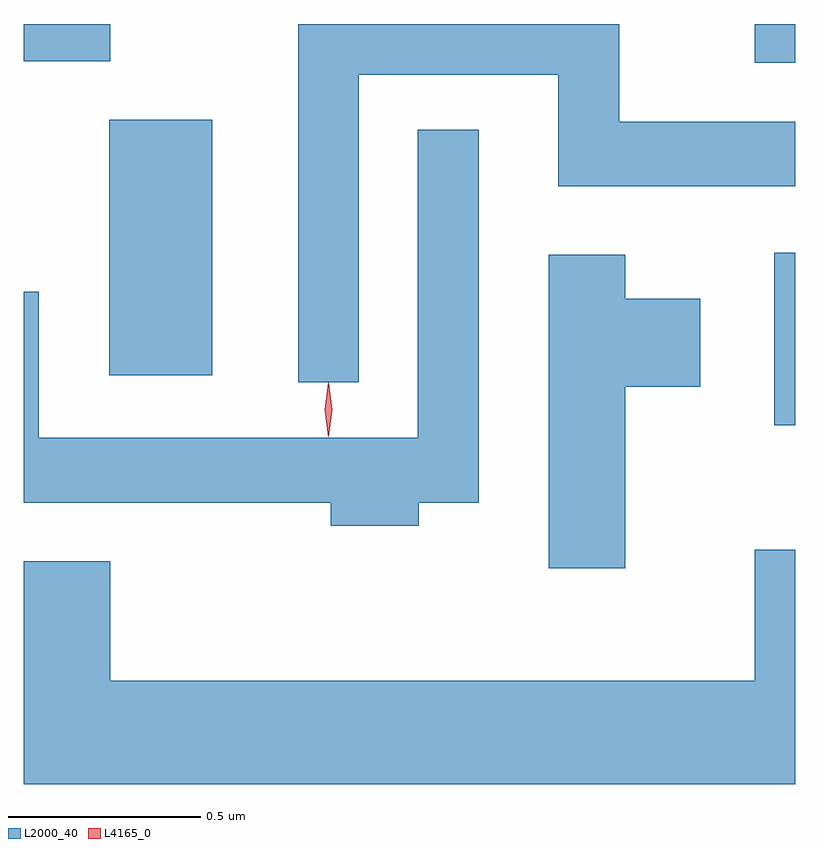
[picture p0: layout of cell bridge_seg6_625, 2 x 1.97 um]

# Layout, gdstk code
import gdstk
lib = gdstk.Library(unit=1e-6, precision=1e-09)
def R(c, l, rs):  # rectangles x0, y0, x1, y1
    for r in rs: c.add(gdstk.rectangle(r[:2], r[2:], *l))
def P(c, l, *ps):  # polygons
    for p in ps: c.add(gdstk.Polygon(p, *l))
L2000_40 = (2000, 40)
L4165_0 = (4165, 0)

bridge_seg6_625 = lib.new_cell('bridge_seg6_625')
R(bridge_seg6_625, L2000_40, [(467.111,1610.906,467.165,1611.354), (465.386,1611.036,465.654,1611.699), (467.061,1611.846,467.165,1611.947), (465.165,1611.851,465.389,1611.947)])
P(bridge_seg6_625, L2000_40, [(466.034,1611.816),(466.551,1611.816),(466.551,1611.526),(467.165,1611.526),(467.165,1611.694),(466.709,1611.694),(466.709,1611.947),(465.876,1611.947),(465.876,1611.018),(466.034,1611.018)],
  [(466.189,1610.706),(466.344,1610.706),(466.344,1611.673),(466.186,1611.673),(466.186,1610.874),(465.204,1610.874),(465.204,1611.253),(465.165,1611.253),(465.165,1610.706),(465.961,1610.706),(465.961,1610.646),(466.189,1610.646)],
  [(466.724,1611.006),(466.919,1611.006),(466.919,1611.234),(466.724,1611.234),(466.724,1611.349),(466.526,1611.349),(466.526,1610.536),(466.724,1610.536)],
  [(467.165,1610.584),(467.061,1610.584),(467.061,1610.244),(465.389,1610.244),(465.389,1610.554),(465.165,1610.554),(465.165,1609.976),(467.165,1609.976)])
P(bridge_seg6_625, L4165_0, [(465.954,1610.877),(465.945,1610.946),(465.954,1611.016),(465.955,1611.016),(465.956,1611.016),(465.965,1610.946),(465.956,1610.877),(465.955,1610.877)],
  [(465.955,1610.879),(465.954,1610.88),(465.945,1610.946),(465.954,1611.012),(465.955,1611.013),(465.955,1611.012),(465.965,1610.946),(465.955,1610.88)])

lib.write_gds('bridge_seg6_625.gds')
